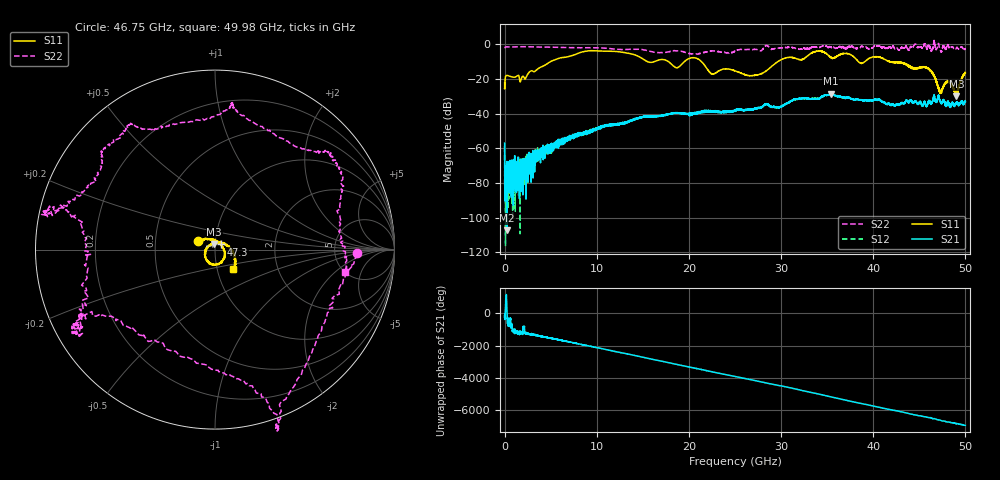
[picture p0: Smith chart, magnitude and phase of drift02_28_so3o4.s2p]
!Created with skrf (http://scikit-rf.org).
# Hz S RI R 50.0
!freq ReS11 ImS11 ReS21 ImS21 ReS12 ImS12 ReS22 ImS22
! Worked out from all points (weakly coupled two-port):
!   10001 points, 300 kHz to 50 GHz, reference 50 ohm
!   highest |S21| = -28.49 dB at 35.39 GHz (marker M1); lowest = -107.3 dB at 265.3 MHz (marker M2)
!   lowest |S11| = -30.1 dB at 49.03 GHz (marker M3), VSWR 1.06, Z = 49.5 + j3.08 ohm
!   |S11| at or under -10 dB: start of sweep to 4.956 GHz; 21.38 GHz to 29.63 GHz (8.253 GHz wide, 32.4 % of centre); 41.81 GHz to end of sweep (the widest 3 of 8)
!   |S22| runs from -5.7 to 2.3 dB; largest |S21 - S12| = 0.0032
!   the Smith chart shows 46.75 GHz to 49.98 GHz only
!   S11 on the Smith chart (normalised r, x): 46.75 GHz: 0.82, +0.08; 47.3 GHz: 1.07, +0.06; 49.98 GHz: 1.20, -0.27
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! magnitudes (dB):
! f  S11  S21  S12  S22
! 300 kHz  -22.2  -57.0  -58.9  -2.1
! 265.3 MHz  -17.9  -107.3  -77.5  -1.4
! 1.87 GHz  -19.1  -74.9  -67.7  -1.3
! 3.65 GHz  -14.0  -62.8  -61.8  -1.5
! 8.335 GHz  -4.5  -52.7  -51.0  -1.9
! 16.67 GHz  -9.1  -41.2  -41.4  -4.7
! 18.7 GHz  -13.5  -39.6  -39.6  -3.7
! 20.6 GHz  -7.7  -40.0  -39.4  -5.7
! 22.51 GHz  -17.1  -38.6  -38.6  -3.7
! 25 GHz  -15.3  -38.4  -38.4  -3.9
! 27.5 GHz  -17.6  -36.6  -36.4  -3.2
! 30.22 GHz  -8.3  -35.5  -35.3  -2.1
! 33.34 GHz  -4.9  -31.3  -31.3  -1.6
! 35.39 GHz  -7.4  -28.5  -28.7  -1.6
! 41.67 GHz  -9.7  -33.9  -34.2  -1.9
! 45.76 GHz  -13.5  -35.6  -35.3  -1.8
! 46.75 GHz  -19.6  -33.0  -32.5  -2.1
! 47.3 GHz  -27.0  -32.9  -33.3  -3.5
! 48.11 GHz  -21.5  -33.3  -33.4  -0.5
! 49.03 GHz  -30.1  -34.5  -33.5  -2.0
! 49.98 GHz  -16.5  -33.1  -32.6  -2.6
! 50 GHz  -16.5  -33.1  -32.6  -2.7
